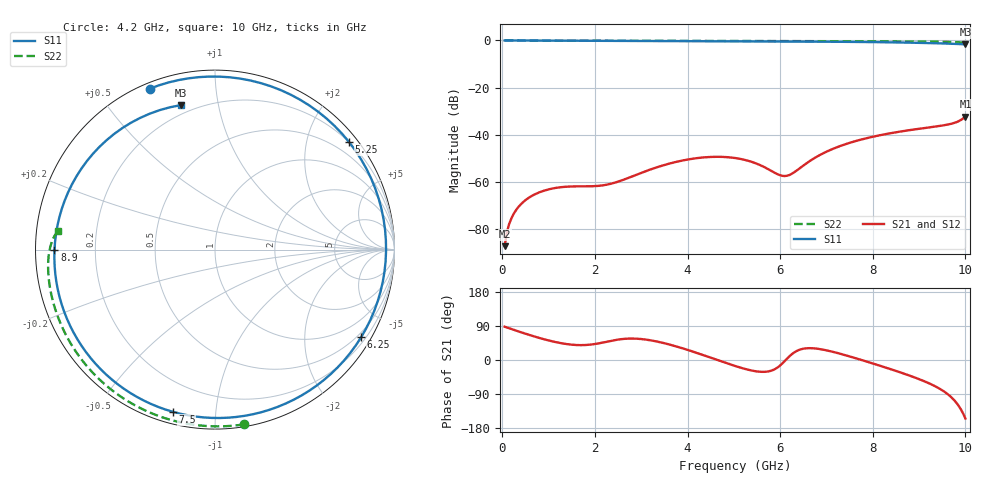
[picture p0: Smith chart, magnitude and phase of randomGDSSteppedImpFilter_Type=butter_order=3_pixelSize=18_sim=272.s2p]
! freq	dB(S11)	phase(S11)	dB(S12)	phase(S12)
!  dB(S21)	phase(S21)	dB(S22)	phase(S22)
!S-par simulation data
#  GHz  S  DB  R 50
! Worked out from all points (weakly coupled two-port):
!   200 points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, 50 MHz to 10 GHz, reference 50 ohm
!   highest |S21| = -32.25 dB at 10 GHz (marker M1); lowest = -87.2 dB at 50 MHz (marker M2)
!   lowest |S11| = -1.6 dB at 10 GHz (marker M3), VSWR 10.58, Z = 7.63 + j38.9 ohm
!   |S11| at or under -10 dB: nowhere
!   |S22| runs from -1.1 to 0.0 dB; largest |S21 - S12| = 0
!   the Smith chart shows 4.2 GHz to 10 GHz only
!   S11 on the Smith chart (normalised r, x): 4.2 GHz: 0.02, +0.67; 5.25 GHz: 0.19, +2.82; 6.25 GHz: 0.36, -3.57; 7.5 GHz: 0.05, -0.77; 8.9 GHz: 0.06, -0.00; 10 GHz: 0.15, +0.78
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0.05  -0.00 -3.2  -87.23 87.9  -87.23 87.9  -0.00 -1.0
0.1  -0.01 -6.5  -81.23 85.8  -81.23 85.8  -0.00 -2.0
0.35  -0.03 -22.4  -70.57 75.4  -70.57 75.4  -0.01 -7.1
0.65  -0.05 -41.3  -65.78 63.6  -65.78 63.6  -0.02 -13.1
1.2  -0.09 -74.8  -62.39 46.0  -62.39 46.0  -0.03 -24.1
1.75  -0.13 -106.7  -61.85 39.3  -61.85 39.3  -0.04 -34.9
2.65  -0.18 -156.5  -58.83 56.0  -58.83 56.0  -0.07 -52.2
3.4  -0.22 161.3  -53.40 47.1  -53.40 47.1  -0.09 -66.1
4.2  -0.29 112.0  -49.90 18.7  -49.90 18.7  -0.11 -80.5
4.65  -0.33 81.6  -49.34 -0.3  -49.34 -0.3  -0.13 -88.4
5.05  -0.36 53.3  -49.92 -16.7  -49.92 -16.7  -0.15 -95.3
5.25  -0.38 38.9  -50.71 -23.9  -50.71 -23.9  -0.16 -98.7
5.75  -0.41 3.1  -54.66 -30.0  -54.66 -30.0  -0.18 -107.1
6.05  -0.44 -17.7  -57.41 -8.8  -57.41 -8.8  -0.20 -112.2
6.25  -0.45 -31.0  -56.56 15.0  -56.56 15.0  -0.21 -115.5
6.7  -0.49 -59.3  -50.38 31.0  -50.38 31.0  -0.24 -122.9
7.1  -0.54 -82.7  -46.29 22.7  -46.29 22.7  -0.27 -129.5
7.5  -0.60 -104.7  -43.42 9.5  -43.42 9.5  -0.30 -136.2
8.35  -0.79 -149.5  -39.45 -22.8  -39.45 -22.8  -0.39 -150.6
8.9  -0.97 -179.9  -37.73 -45.9  -37.73 -45.9  -0.45 -160.3
9.45  -1.23 145.4  -36.24 -76.2  -36.24 -76.2  -0.55 -171.1
10  -1.65 103.4  -32.25 -154.4  -32.25 -154.4  -1.10 173.1
